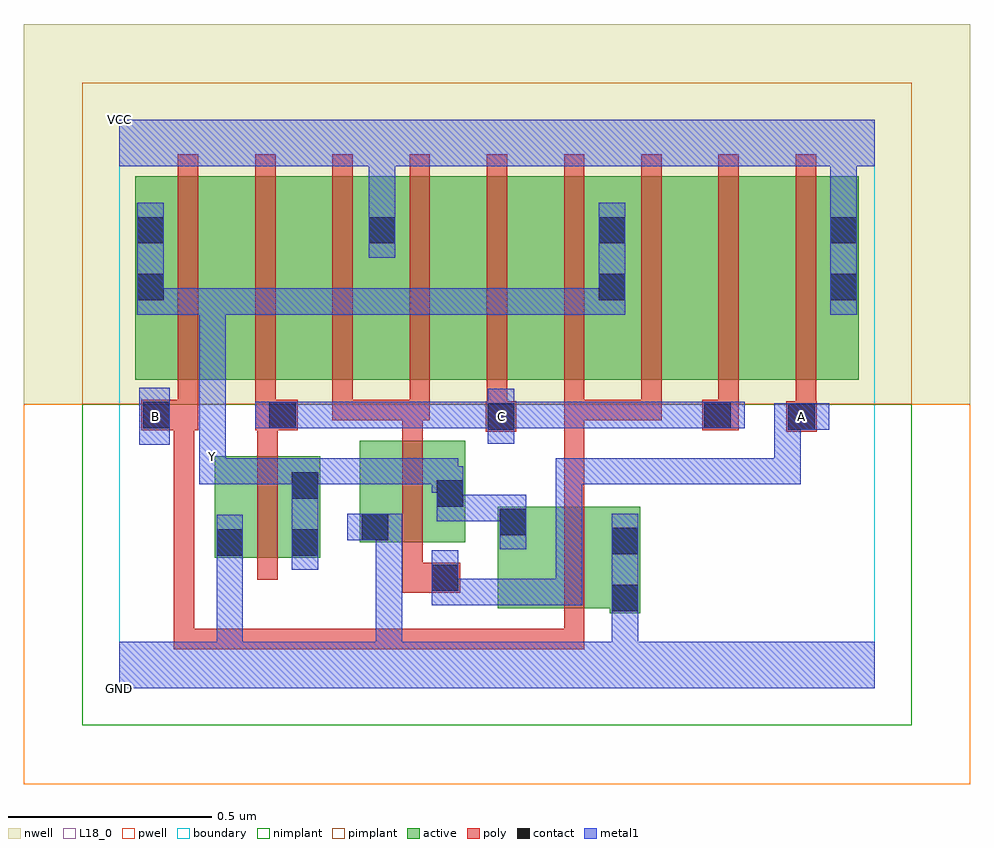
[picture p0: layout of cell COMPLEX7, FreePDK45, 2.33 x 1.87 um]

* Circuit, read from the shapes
.subckt COMPLEX7 A B C GND VCC Y
M1 Y C GND VSUBS nfet w=0.25u l=0.05u
M2 Y A GND VSUBS nfet w=0.25u l=0.05u
M3 GND B Y VSUBS nfet w=0.25u l=0.05u
M4 n1 B Y n2 pfet w=0.5u l=0.05u
M5 n3 C n1 n2 pfet w=0.5u l=0.05u
M6 VCC A n3 n2 pfet w=0.5u l=0.05u
M7 n4 A VCC n2 pfet w=0.5u l=0.05u
M8 n5 C n4 n2 pfet w=0.5u l=0.05u
M9 Y B n5 n2 pfet w=0.5u l=0.05u
M10 n6 B Y n2 pfet w=0.5u l=0.05u
M11 n7 C n6 n2 pfet w=0.5u l=0.05u
M12 VCC A n7 n2 pfet w=0.5u l=0.05u
.ends

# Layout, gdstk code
import gdstk
lib = gdstk.Library(unit=1e-6, precision=1e-09)
def R(c, l, rs):  # rectangles x0, y0, x1, y1
    for r in rs: c.add(gdstk.rectangle(r[:2], r[2:], *l))
def A(c, l, x, y, w, h, nx, ny, dx, dy):  # array of equal rectangles
    R(c, l, [(x+i*dx, y+j*dy, x+i*dx+w, y+j*dy+h) for i in range(nx) for j in range(ny)])
active = (1, 0)
pwell = (2, 0)
nwell = (3, 0)
nimplant = (4, 0)
pimplant = (5, 0)
poly = (9, 0)
contact = (10, 0)
metal1 = (11, 0)
L18_0 = (18, 0)
boundary = (235, 0)

complex7 = lib.new_cell('COMPLEX7')
A(complex7, active, 0.265, 0.76, 0.19, 0.5, 3, 1, 0.57, 0)
R(complex7, active, [(1.207,0.185,1.282,0.447), (0.932,0.197,1.282,0.447), (0.235,0.322,0.495,0.572), (0.235,0.322,0.31,0.572), (0.42,0.322,0.495,0.572), (0.932,0.33,1.007,0.447), (0.592,0.36,0.852,0.61), (0.592,0.36,0.667,0.61), (0.777,0.395,0.852,0.61), (0.04,0.76,0.265,1.26), (0.04,0.76,0.145,1.2), (0.455,0.76,0.685,1.26), (0.61,0.76,0.685,1.26), (0.61,0.76,0.835,1.26), (1.025,0.76,1.25,1.26), (1.175,0.76,1.405,1.26), (1.175,0.76,1.25,1.2), (1.595,0.76,1.82,1.26), (1.745,0.76,1.82,1.26)])
R(complex7, pwell, [(-0.235,-0.235,2.095,0.7)])
R(complex7, nwell, [(-0.235,0.7,2.095,1.635)])
R(complex7, nimplant, [(-0.09,-0.09,1.95,0.7)])
R(complex7, pimplant, [(-0.09,0.7,1.95,1.49)])
A(complex7, poly, 0.145, 0.66, 0.05, 0.095, 4, 1, 0.19, 0)
A(complex7, poly, 1.095, 0.66, 0.05, 0.095, 3, 1, 0.19, 0)
A(complex7, poly, 0.145, 0.705, 0.05, 0.61, 9, 1, 0.19, 0)
R(complex7, poly, [(0.135,0.097,0.185,0.147), (0.135,0.097,0.185,0.147), (0.135,0.097,0.185,0.147), (0.135,0.097,0.327,0.147), (0.135,0.097,0.185,0.685), (0.277,0.097,0.327,0.147), (0.277,0.097,0.327,0.147), (0.277,0.097,0.327,0.147), (0.277,0.097,0.575,0.147), (0.525,0.097,0.575,0.147), (0.525,0.097,0.575,0.147), (0.525,0.097,0.575,0.147), (0.525,0.097,0.575,0.147), (0.525,0.097,0.575,0.147), (0.525,0.097,0.707,0.147), (0.657,0.097,0.707,0.147), (0.657,0.097,1.012,0.147), (0.962,0.097,1.012,0.147), (0.962,0.097,1.012,0.147), (0.962,0.097,1.012,0.147), (0.962,0.097,1.145,0.147), (1.095,0.097,1.145,0.192), (1.095,0.097,1.145,0.147), (1.095,0.097,1.145,0.147), (1.095,0.097,1.145,0.147), (1.095,0.097,1.145,0.147), (1.095,0.097,1.145,0.147), (1.095,0.142,1.145,0.502), (0.697,0.235,0.84,0.31), (0.697,0.26,0.747,0.355), (0.34,0.267,0.39,0.627), (0.697,0.305,0.747,0.665), (1.095,0.452,1.145,0.71), (0.34,0.577,0.39,0.685), (0.697,0.615,0.747,0.71), (0.902,0.632,0.977,0.707), (1.642,0.632,1.717,0.707), (0.055,0.635,0.195,0.71), (0.135,0.635,0.185,0.685), (0.135,0.635,0.185,0.685), (0.135,0.635,0.185,0.685), (0.135,0.635,0.185,0.685), (0.335,0.635,0.44,0.71), (1.435,0.635,1.525,0.71), (0.905,0.657,0.955,0.755), (1.665,0.657,1.715,0.755), (0.525,0.66,0.575,0.71), (0.525,0.66,0.575,0.71), (0.525,0.66,0.575,0.71), (0.525,0.66,0.747,0.71), (0.697,0.66,0.765,0.71), (1.095,0.66,1.145,0.71), (1.095,0.66,1.335,0.71), (1.285,0.66,1.335,0.71), (1.285,0.66,1.335,0.71), (1.285,0.66,1.335,0.71)])
R(complex7, contact, [(1.212,0.19,1.277,0.255), (0.77,0.24,0.835,0.305), (0.24,0.327,0.305,0.392), (0.425,0.327,0.49,0.392), (1.212,0.33,1.277,0.395), (0.597,0.365,0.662,0.43), (0.937,0.377,1.002,0.442), (0.782,0.447,0.847,0.512), (0.425,0.467,0.49,0.532), (0.907,0.637,0.972,0.702), (1.647,0.637,1.712,0.702), (0.06,0.64,0.125,0.705), (0.37,0.64,0.435,0.705), (1.44,0.64,1.505,0.705), (0.045,0.955,0.11,1.02), (1.18,0.955,1.245,1.02), (1.75,0.955,1.815,1.02), (0.045,1.095,0.11,1.16), (0.615,1.095,0.68,1.16), (1.18,1.095,1.245,1.16), (1.75,1.095,1.815,1.16)])
R(complex7, metal1, [(0,0,1.86,0.115), (0.24,0.05,0.305,0.115), (0.24,0.05,0.305,0.115), (0.24,0.05,0.305,0.115), (0.24,0.05,0.305,0.115), (0.24,0.05,0.305,0.357), (0.632,0.05,0.697,0.115), (0.632,0.05,0.697,0.115), (0.632,0.05,0.697,0.115), (0.632,0.05,0.697,0.115), (0.632,0.05,0.697,0.115), (0.632,0.05,0.697,0.115), (0.632,0.05,0.697,0.43), (1.212,0.05,1.277,0.22), (1.212,0.155,1.277,0.43), (1.212,0.155,1.277,0.22), (1.212,0.155,1.277,0.22), (1.212,0.155,1.277,0.22), (1.212,0.155,1.277,0.22), (1.212,0.155,1.277,0.22), (1.212,0.155,1.277,0.22), (0.77,0.205,0.835,0.27), (0.77,0.205,0.835,0.27), (0.77,0.205,0.972,0.27), (0.77,0.205,0.835,0.34), (0.907,0.205,0.972,0.27), (0.907,0.205,1.057,0.27), (0.992,0.205,1.057,0.27), (0.992,0.205,1.057,0.27), (0.992,0.205,1.057,0.27), (0.992,0.205,1.14,0.27), (1.075,0.205,1.14,0.27), (1.075,0.205,1.14,0.567), (0.24,0.292,0.305,0.357), (0.24,0.292,0.305,0.357), (0.24,0.292,0.305,0.427), (0.425,0.292,0.49,0.567), (0.937,0.342,1.002,0.477), (0.562,0.365,0.697,0.43), (0.782,0.412,1.002,0.477), (0.782,0.412,0.847,0.547), (0.937,0.412,1.002,0.477), (0.937,0.412,1.002,0.477), (0.77,0.482,0.847,0.547), (0.77,0.482,0.835,0.567), (0.197,0.502,0.262,0.567), (0.197,0.502,0.262,0.567), (0.197,0.502,0.262,0.567), (0.197,0.502,0.262,0.567), (0.197,0.502,0.262,0.637), (0.197,0.502,0.49,0.567), (0.425,0.502,0.697,0.567), (0.632,0.502,0.697,0.567), (0.632,0.502,0.697,0.567), (0.632,0.502,0.697,0.567), (0.632,0.502,0.835,0.567), (1.075,0.502,1.14,0.567), (1.075,0.502,1.332,0.567), (1.267,0.502,1.332,0.567), (1.267,0.502,1.332,0.567), (1.267,0.502,1.332,0.567), (1.267,0.502,1.54,0.567), (1.475,0.502,1.54,0.567), (1.475,0.502,1.54,0.567), (1.475,0.502,1.54,0.567), (1.475,0.502,1.677,0.567), (1.612,0.502,1.677,0.567), (1.612,0.502,1.677,0.702), (0.197,0.572,0.262,0.985), (0.05,0.6,0.125,0.74), (0.907,0.602,0.972,0.737), (1.612,0.637,1.677,0.702), (1.612,0.637,1.677,0.702), (1.612,0.637,1.747,0.702), (0.335,0.64,0.47,0.705), (0.405,0.64,0.49,0.705), (0.425,0.64,0.49,0.705), (0.425,0.64,0.697,0.705), (0.632,0.64,0.697,0.705), (0.632,0.64,0.697,0.705), (0.632,0.64,0.697,0.705), (0.632,0.64,0.835,0.705), (0.77,0.64,0.835,0.705), (0.77,0.64,0.835,0.705), (0.77,0.64,0.835,0.705), (0.77,0.64,0.972,0.705), (0.907,0.64,0.985,0.705), (0.92,0.64,0.985,0.705), (0.92,0.64,1.195,0.705), (1.13,0.64,1.195,0.705), (1.13,0.64,1.195,0.705), (1.13,0.64,1.195,0.705), (1.13,0.64,1.332,0.705), (1.267,0.64,1.332,0.705), (1.267,0.64,1.47,0.705), (1.405,0.64,1.47,0.705), (1.405,0.64,1.47,0.705), (1.405,0.64,1.54,0.705), (0.045,0.92,0.11,1.195), (0.045,0.92,0.11,0.985), (0.045,0.92,0.11,0.985), (0.045,0.92,0.262,0.985), (0.197,0.92,0.262,0.985), (0.197,0.92,0.262,0.985), (0.197,0.92,0.262,0.985), (0.197,0.92,0.49,0.985), (0.425,0.92,0.49,0.985), (0.425,0.92,0.697,0.985), (0.632,0.92,0.697,0.985), (0.632,0.92,0.697,0.985), (0.632,0.92,0.697,0.985), (0.632,0.92,0.835,0.985), (0.77,0.92,0.835,0.985), (0.77,0.92,0.835,0.985), (0.77,0.92,0.835,0.985), (0.77,0.92,0.985,0.985), (0.92,0.92,0.985,0.985), (0.92,0.92,0.985,0.985), (0.92,0.92,0.985,0.985), (0.92,0.92,1.14,0.985), (1.075,0.92,1.14,0.985), (1.075,0.92,1.245,0.985), (1.18,0.92,1.245,1.195), (1.75,0.92,1.815,1.195), (0.615,1.06,0.68,1.195), (0.615,1.13,0.68,1.35), (1.75,1.13,1.815,1.35), (0,1.285,1.86,1.4)])
R(complex7, L18_0, [(0,0,1.86,0.115), (0.24,0.05,0.305,0.115), (0.24,0.05,0.305,0.115), (0.24,0.05,0.305,0.115), (0.24,0.05,0.305,0.115), (0.24,0.05,0.305,0.357), (0.632,0.05,0.697,0.115), (0.632,0.05,0.697,0.115), (0.632,0.05,0.697,0.115), (0.632,0.05,0.697,0.115), (0.632,0.05,0.697,0.115), (0.632,0.05,0.697,0.115), (0.632,0.05,0.697,0.43), (1.212,0.05,1.277,0.22), (1.212,0.155,1.277,0.43), (1.212,0.155,1.277,0.22), (1.212,0.155,1.277,0.22), (1.212,0.155,1.277,0.22), (1.212,0.155,1.277,0.22), (1.212,0.155,1.277,0.22), (1.212,0.155,1.277,0.22), (0.77,0.205,0.835,0.27), (0.77,0.205,0.835,0.27), (0.77,0.205,0.835,0.34), (0.77,0.205,0.972,0.27), (0.907,0.205,0.972,0.27), (0.907,0.205,1.057,0.27), (0.992,0.205,1.057,0.27), (0.992,0.205,1.057,0.27), (0.992,0.205,1.057,0.27), (0.992,0.205,1.14,0.27), (1.075,0.205,1.14,0.27), (1.075,0.205,1.14,0.567), (0.24,0.292,0.305,0.357), (0.24,0.292,0.305,0.357), (0.24,0.292,0.305,0.427), (0.425,0.292,0.49,0.567), (0.937,0.342,1.002,0.477), (0.562,0.365,0.697,0.43), (0.782,0.412,0.847,0.547), (0.782,0.412,1.002,0.477), (0.937,0.412,1.002,0.477), (0.937,0.412,1.002,0.477), (0.77,0.482,0.835,0.567), (0.77,0.482,0.847,0.547), (0.197,0.502,0.262,0.567), (0.197,0.502,0.262,0.567), (0.197,0.502,0.262,0.567), (0.197,0.502,0.262,0.567), (0.197,0.502,0.262,0.637), (0.197,0.502,0.49,0.567), (0.425,0.502,0.697,0.567), (0.632,0.502,0.697,0.567), (0.632,0.502,0.697,0.567), (0.632,0.502,0.697,0.567), (0.632,0.502,0.835,0.567), (1.075,0.502,1.14,0.567), (1.075,0.502,1.332,0.567), (1.267,0.502,1.332,0.567), (1.267,0.502,1.332,0.567), (1.267,0.502,1.332,0.567), (1.267,0.502,1.54,0.567), (1.475,0.502,1.54,0.567), (1.475,0.502,1.54,0.567), (1.475,0.502,1.54,0.567), (1.475,0.502,1.677,0.567), (1.612,0.502,1.677,0.567), (1.612,0.502,1.677,0.702), (0.197,0.537,0.262,0.602), (0.197,0.572,0.262,0.985), (0.05,0.6,0.125,0.74), (0.907,0.602,0.972,0.737), (0.057,0.637,0.122,0.702), (0.907,0.637,0.972,0.702), (1.612,0.637,1.677,0.702), (1.612,0.637,1.677,0.702), (1.612,0.637,1.747,0.702), (1.647,0.637,1.712,0.702), (0.335,0.64,0.47,0.705), (0.405,0.64,0.49,0.705), (0.425,0.64,0.49,0.705), (0.425,0.64,0.697,0.705), (0.632,0.64,0.697,0.705), (0.632,0.64,0.697,0.705), (0.632,0.64,0.697,0.705), (0.632,0.64,0.835,0.705), (0.77,0.64,0.835,0.705), (0.77,0.64,0.835,0.705), (0.77,0.64,0.835,0.705), (0.77,0.64,0.972,0.705), (0.907,0.64,0.985,0.705), (0.92,0.64,0.985,0.705), (0.92,0.64,1.195,0.705), (1.13,0.64,1.195,0.705), (1.13,0.64,1.195,0.705), (1.13,0.64,1.195,0.705), (1.13,0.64,1.332,0.705), (1.267,0.64,1.332,0.705), (1.267,0.64,1.47,0.705), (1.405,0.64,1.47,0.705), (1.405,0.64,1.47,0.705), (1.405,0.64,1.54,0.705), (0.045,0.92,0.11,1.195), (0.045,0.92,0.11,0.985), (0.045,0.92,0.11,0.985), (0.045,0.92,0.262,0.985), (0.197,0.92,0.262,0.985), (0.197,0.92,0.262,0.985), (0.197,0.92,0.262,0.985), (0.197,0.92,0.49,0.985), (0.425,0.92,0.49,0.985), (0.425,0.92,0.697,0.985), (0.632,0.92,0.697,0.985), (0.632,0.92,0.697,0.985), (0.632,0.92,0.697,0.985), (0.632,0.92,0.835,0.985), (0.77,0.92,0.835,0.985), (0.77,0.92,0.835,0.985), (0.77,0.92,0.835,0.985), (0.77,0.92,0.985,0.985), (0.92,0.92,0.985,0.985), (0.92,0.92,0.985,0.985), (0.92,0.92,0.985,0.985), (0.92,0.92,1.14,0.985), (1.075,0.92,1.14,0.985), (1.075,0.92,1.245,0.985), (1.18,0.92,1.245,1.195), (1.75,0.92,1.815,1.195), (0.615,1.06,0.68,1.195), (0.615,1.13,0.68,1.35), (1.75,1.13,1.815,1.35), (0,1.285,1.86,1.4)])
R(complex7, boundary, [(0,0,1.86,1.4)])
complex7.add(gdstk.Label('A', (1.68,0.67), layer=11, texttype=0))
complex7.add(gdstk.Label('B', (0.09,0.67), layer=11, texttype=0))
complex7.add(gdstk.Label('C', (0.94,0.67), layer=11, texttype=0))
complex7.add(gdstk.Label('Y', (0.23,0.57), layer=11, texttype=0))
complex7.add(gdstk.Label('VCC', (0,1.4), layer=11, texttype=0))
complex7.add(gdstk.Label('GND', (0,0), layer=11, texttype=0))

lib.write_gds('COMPLEX7.gds')
